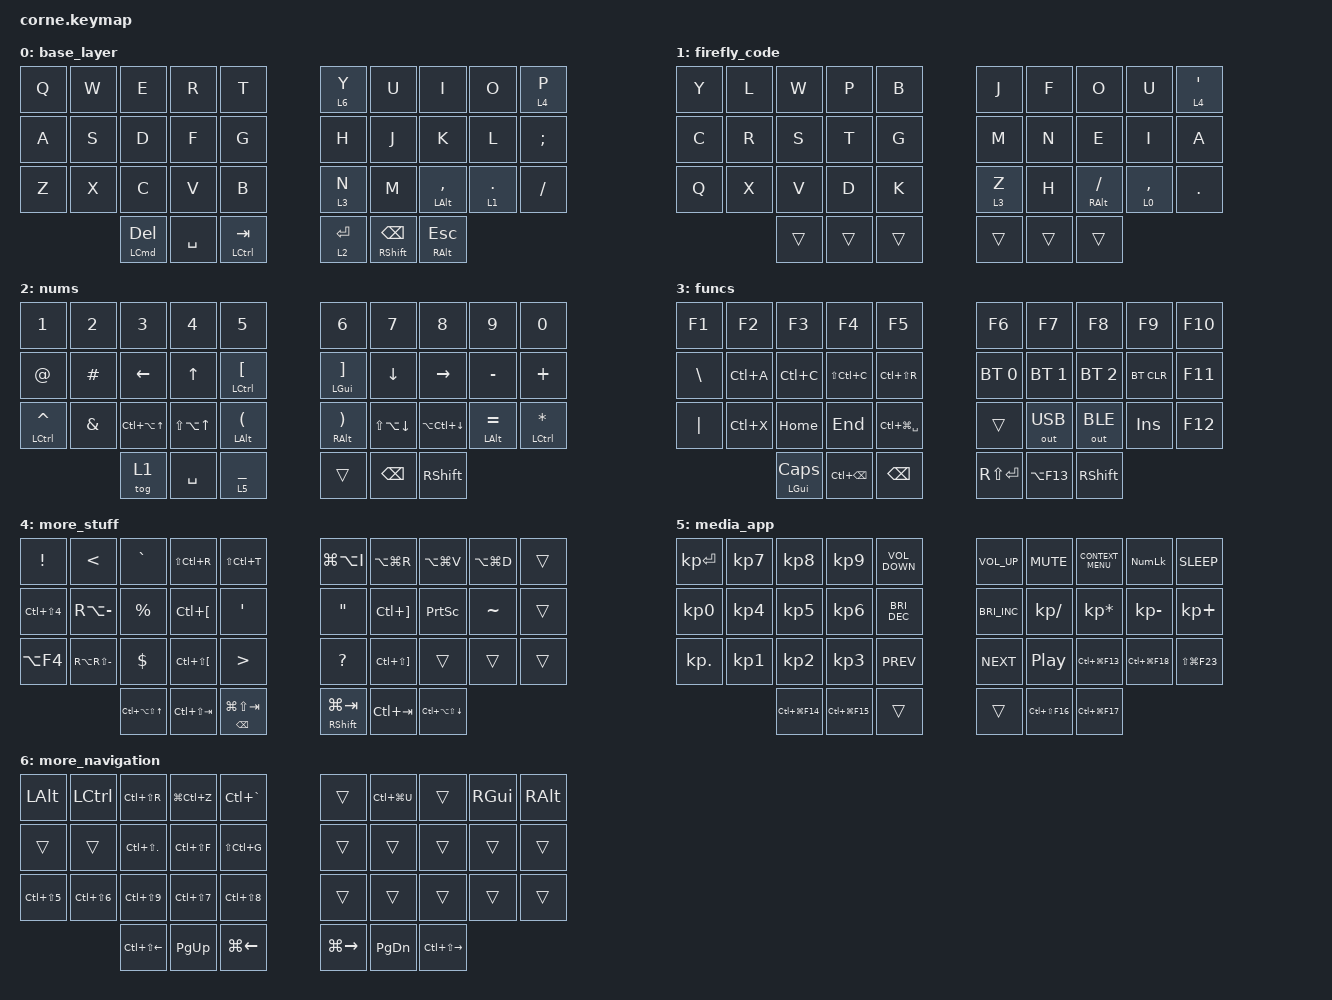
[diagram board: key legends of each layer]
/*
 * Copyright (c) 2020 The ZMK Contributors
 *
 * SPDX-License-Identifier: MIT
 */

#include <behaviors.dtsi>
#include <dt-bindings/zmk/bt.h>
#include <dt-bindings/zmk/keys.h>
#include <dt-bindings/zmk/outputs.h>

/ {
    keymap {
        compatible = "zmk,keymap";

        base_layer {
            bindings = <
&kp Q  &kp W  &kp E                 &kp R      &kp T            &lt 6 Y      &kp U                      &kp I               &kp O         &lt 4 P
&kp A  &kp S  &kp D                 &kp F      &kp G            &kp H        &kp J                      &kp K               &kp L         &kp SEMI
&kp Z  &kp X  &kp C                 &kp V      &kp B            &lt 3 N      &kp M                      &mt LEFT_ALT COMMA  &lt 1 PERIOD  &kp FSLH
              &mt LEFT_COMMAND DEL  &kp SPACE  &mt LCTRL TAB    &lt 2 ENTER  &mt RIGHT_SHIFT BACKSPACE  &mt RALT ESCAPE
            >;
        };

        firefly_code {
            bindings = <
&kp Y  &kp L  &kp W   &kp P   &kp B     &kp J    &kp F   &kp O           &kp U        &lt 4 APOS
&kp C  &kp R  &kp S   &kp T   &kp G     &kp M    &kp N   &kp E           &kp I        &kp A
&kp Q  &kp X  &kp V   &kp D   &kp K     &lt 3 Z  &kp H   &mt RALT SLASH  &lt 0 COMMA  &kp DOT
              &trans  &trans  &trans    &trans   &trans  &trans
            >;
        };

        nums {
            bindings = <
&kp N1           &kp N2    &kp N3                &kp N4                &kp N5                       &kp N6                           &kp N7                  &kp N8                  &kp N9          &kp N0
&kp AT           &kp HASH  &kp LEFT              &kp UP_ARROW          &mt LCTRL LEFT_BRACKET       &mt LEFT_GUI RIGHT_BRACKET       &kp DOWN                &kp RIGHT               &kp MINUS       &kp PLUS
&mt LCTRL CARET  &kp AMPS  &kp LC(LA(UP_ARROW))  &kp LS(LA(UP_ARROW))  &mt LALT LEFT_PARENTHESIS    &mt RIGHT_ALT RIGHT_PARENTHESIS  &kp LS(LA(DOWN_ARROW))  &kp LA(LC(DOWN_ARROW))  &mt LALT EQUAL  &mt LCTRL ASTRK
                           &tog 1                &kp SPACE             &lt 5 UNDER                  &trans                           &kp BACKSPACE           &kp RIGHT_SHIFT
            >;
        };

        funcs {
            bindings = <
&kp F1         &kp F2     &kp F3             &kp F4             &kp F5               &kp F6         &kp F7        &kp F8           &kp F9      &kp F10
&kp BACKSLASH  &kp LC(A)  &kp LC(C)          &kp LS(LC(C))      &kp LC(LS(R))        &bt BT_SEL 0   &bt BT_SEL 1  &bt BT_SEL 2     &bt BT_CLR  &kp F11
&kp PIPE       &kp LC(X)  &kp HOME           &kp END            &kp LC(LG(SPACE))    &trans         &out OUT_USB  &out OUT_BLE     &kp INS     &kp F12
                          &mt LEFT_GUI CAPS  &kp LC(BACKSPACE)  &kp BACKSPACE        &kp RS(ENTER)  &kp LA(F13)   &kp RIGHT_SHIFT
            >;
        };

        more_stuff {
            bindings = <
&kp EXCL              &kp LESS_THAN      &kp GRAVE                 &kp LS(LC(R))             &kp LS(LC(T))                &kp LG(LA(I))      &kp LA(LG(R))              &kp LA(LG(V))               &kp LA(LG(D))  &trans
&kp LC(LS(NUMBER_4))  &kp RA(MINUS)      &kp PERCENT               &kp LC(LEFT_BRACKET)      &kp SINGLE_QUOTE             &kp DOUBLE_QUOTES  &kp LC(RIGHT_BRACKET)      &kp PRINTSCREEN             &kp TILDE      &trans
&kp LA(F4)            &kp RA(RS(MINUS))  &kp DOLLAR                &kp LC(LS(LEFT_BRACKET))  &kp GREATER_THAN             &kp QUESTION       &kp LC(LS(RIGHT_BRACKET))  &trans                      &trans         &trans
                                         &kp LC(LA(LS(UP_ARROW)))  &kp LC(LS(TAB))           &mt BACKSPACE LG(LS(TAB))    &mt RSHFT LG(TAB)  &kp LC(TAB)                &kp LC(LA(LS(DOWN_ARROW)))
            >;
        };

        media_app {
            bindings = <
&kp KP_ENTER  &kp KP_N7  &kp KP_N8        &kp KP_NUMBER_9  &kp C_VOLUME_DOWN       &kp C_VOLUME_UP       &kp C_MUTE        &kp K_CONTEXT_MENU  &kp KP_NUMLOCK   &kp C_SLEEP
&kp KP_N0     &kp KP_N4  &kp KP_N5        &kp KP_N6        &kp C_BRIGHTNESS_DEC    &kp C_BRIGHTNESS_INC  &kp KP_DIVIDE     &kp KP_MULTIPLY     &kp KP_SUBTRACT  &kp KP_PLUS
&kp KP_DOT    &kp KP_N1  &kp KP_N2        &kp KP_N3        &kp C_PREV              &kp C_NEXT            &kp C_PLAY_PAUSE  &kp LC(LG(F13))     &kp LC(LG(F18))  &kp LS(LG(F23))
                         &kp LC(LG(F14))  &kp LC(LG(F15))  &trans                  &trans                &kp LC(LS(F16))   &kp LC(LG(F17))
            >;
        };

        more_navigation {
            bindings = <
&kp LALT              &kp LCTRL             &kp LC(LS(R))           &kp LG(LC(Z))   &kp LC(GRAVE)         &trans         &kp LC(LG(U))  &trans             &kp RIGHT_GUI  &kp RALT
&trans                &trans                &kp LC(LS(PERIOD))      &kp LC(LS(F))   &kp LS(LC(G))         &trans         &trans         &trans             &trans         &trans
&kp LC(LS(NUMBER_5))  &kp LC(LS(NUMBER_6))  &kp LC(LS(N9))          &kp LC(LS(N7))  &kp LC(LS(N8))        &trans         &trans         &trans             &trans         &trans
                                            &kp LC(LS(LEFT_ARROW))  &kp PG_UP       &kp LG(LEFT_ARROW)    &kp LG(RIGHT)  &kp PG_DN      &kp LC(LS(RIGHT))
            >;
        };
    };
};
